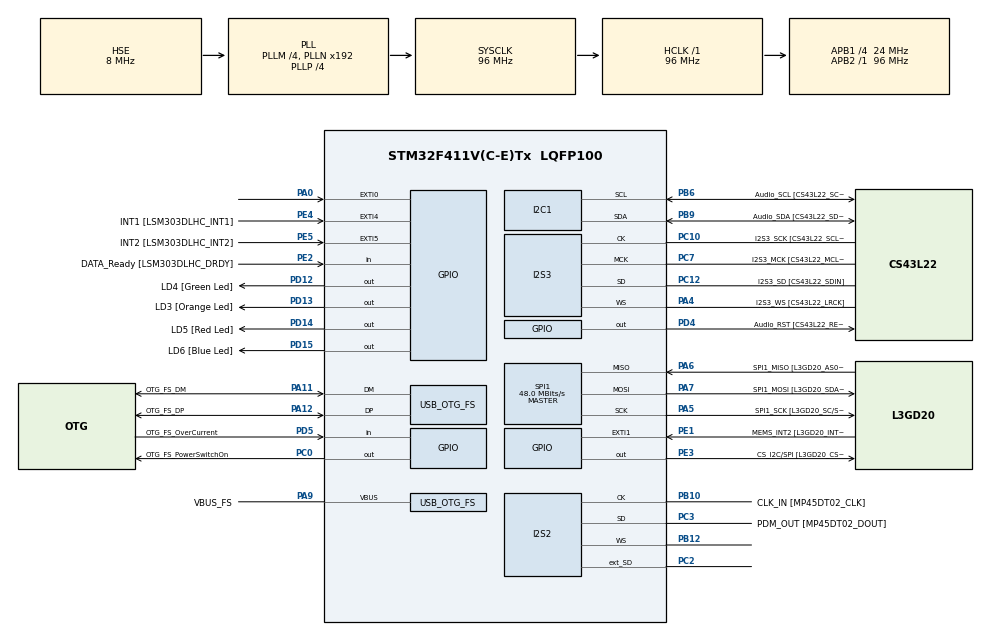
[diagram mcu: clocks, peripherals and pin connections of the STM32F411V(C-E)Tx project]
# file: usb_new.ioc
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I2S2.AudioFreq=I2S_AUDIOFREQ_96K
I2S2.ErrorAudioFreq=0.15 %
I2S2.FullDuplexMode=I2S_FULLDUPLEXMODE_ENABLE
I2S2.Instance=SPI$Index
I2S2.RealAudioFreq=96.153 KHz
I2S2.VirtualMode=I2S_MODE_MASTER
I2S3.AudioFreq=I2S_AUDIOFREQ_96K
I2S3.ErrorAudioFreq=-6.99 %
I2S3.FullDuplexMode=I2S_FULLDUPLEXMODE_DISABLE
I2S3.Instance=SPI$Index
I2S3.RealAudioFreq=89.285 KHz
I2S3.VirtualMode=I2S_MODE_MASTER
Mcu.Family=STM32F4
Mcu.Name=STM32F411V(C-E)Tx
Mcu.Package=LQFP100
NVIC.OTG_FS_IRQn=true\:0\:0\:false\:false\:true\:true\:true
NVIC.PriorityGroup=NVIC_PRIORITYGROUP_0
NVIC.SPI2_IRQn=true\:0\:0\:false\:false\:true\:true\:true
PA0-WKUP.GPIO_ModeDefaultEXTI=GPIO_MODE_EVT_RISING
PA0-WKUP.Signal=GPXTI0
PA10.GPIO_Label=OTG_FS_ID
PA10.Signal=USB_OTG_FS_ID
PA11.GPIO_Label=OTG_FS_DM
PA11.Mode=Host_Only
PA11.Signal=USB_OTG_FS_DM
PA12.GPIO_Label=OTG_FS_DP
PA12.Mode=Host_Only
PA12.Signal=USB_OTG_FS_DP
PA13.GPIO_Label=SWDIO
PA13.Mode=Serial_Wire
PA13.Signal=SYS_JTMS-SWDIO
PA14.GPIO_Label=SWCLK
PA14.Mode=Serial_Wire
PA14.Signal=SYS_JTCK-SWCLK
PA4.GPIO_Label=I2S3_WS [CS43L22_LRCK]
PA4.GPIO_Mode=GPIO_MODE_AF_PP
PA4.GPIO_PuPd=GPIO_NOPULL
PA4.GPIO_Speed=GPIO_SPEED_FREQ_LOW
PA4.Mode=Half_Duplex_Master
PA4.Signal=I2S3_WS
PA5.GPIO_Label=SPI1_SCK [L3GD20_SC/SPC]
PA5.Mode=Full_Duplex_Master
PA5.Signal=SPI1_SCK
PA6.GPIO_Label=SPI1_MISO [L3GD20_AS0/SDO]
PA6.Mode=Full_Duplex_Master
PA6.Signal=SPI1_MISO
PA7.GPIO_Label=SPI1_MOSI [L3GD20_SDA/SDI/SDO]
PA7.Mode=Full_Duplex_Master
PA7.Signal=SPI1_MOSI
PA9.GPIO_Label=VBUS_FS
PA9.Mode=Activate_VBUS
PA9.Signal=USB_OTG_FS_VBUS
PB10.GPIO_Label=CLK_IN [MP45DT02_CLK]
PB10.Mode=Full_Duplex_Master
PB10.Signal=I2S2_CK
PB12.Mode=Full_Duplex_Master
PB12.Signal=I2S2_WS
PB3.GPIO_Label=SWO
PB3.Signal=SYS_JTDO-SWO
PB6.GPIO_Label=Audio_SCL [CS43L22_SCL]
PB6.GPIO_Mode=GPIO_MODE_AF_OD
PB6.GPIO_PuPd=GPIO_NOPULL
PB6.GPIO_Speed=GPIO_SPEED_FREQ_LOW
PB6.Mode=I2C
PB6.Signal=I2C1_SCL
PB9.GPIO_Label=Audio_SDA [CS43L22_SDA]
PB9.GPIO_Mode=GPIO_MODE_AF_OD
PB9.GPIO_PuPd=GPIO_NOPULL
PB9.GPIO_Speed=GPIO_SPEED_FREQ_LOW
PB9.Mode=I2C
PB9.Signal=I2C1_SDA
PC0.GPIO_Label=OTG_FS_PowerSwitchOn
PC0.PinState=GPIO_PIN_SET
PC0.Signal=GPIO_Output
PC10.GPIO_Label=I2S3_SCK [CS43L22_SCLK]
PC10.GPIO_Mode=GPIO_MODE_AF_PP
PC10.GPIO_PuPd=GPIO_NOPULL
PC10.GPIO_Speed=GPIO_SPEED_FREQ_LOW
PC10.Mode=Half_Duplex_Master
PC10.Signal=I2S3_CK
PC12.GPIO_Label=I2S3_SD [CS43L22_SDIN]
PC12.GPIO_Mode=GPIO_MODE_AF_PP
PC12.GPIO_PuPd=GPIO_NOPULL
PC12.GPIO_Speed=GPIO_SPEED_FREQ_LOW
PC12.Mode=Half_Duplex_Master
PC12.Signal=I2S3_SD
PC14-OSC32_IN.GPIO_Label=PC14-OSC32_IN
PC14-OSC32_IN.Mode=LSE-External-Oscillator
PC14-OSC32_IN.Signal=RCC_OSC32_IN
PC15-OSC32_OUT.GPIO_Label=PC15-OSC32_OUT
PC15-OSC32_OUT.Mode=LSE-External-Oscillator
PC15-OSC32_OUT.Signal=RCC_OSC32_OUT
PC2.Mode=Full_Duplex_Master
PC2.Signal=I2S2_ext_SD
PC3.GPIO_Label=PDM_OUT [MP45DT02_DOUT]
PC3.Mode=Full_Duplex_Master
PC3.Signal=I2S2_SD
PC7.GPIO_Label=I2S3_MCK [CS43L22_MCLK]
PC7.GPIO_Mode=GPIO_MODE_AF_PP
PC7.GPIO_PuPd=GPIO_NOPULL
PC7.GPIO_Speed=GPIO_SPEED_FREQ_LOW
PC7.Mode=Master_Clock_Activated
PC7.Signal=I2S3_MCK
PD12.GPIO_Label=LD4 [Green Led]
PD12.GPIO_PuPd=GPIO_NOPULL
PD12.GPIO_Speed=GPIO_SPEED_FREQ_LOW
PD12.Signal=GPIO_Output
PD13.GPIO_Label=LD3 [Orange Led]
PD13.GPIO_PuPd=GPIO_NOPULL
PD13.GPIO_Speed=GPIO_SPEED_FREQ_LOW
PD13.Signal=GPIO_Output
PD14.GPIO_Label=LD5 [Red Led]
PD14.GPIO_PuPd=GPIO_NOPULL
PD14.GPIO_Speed=GPIO_SPEED_FREQ_LOW
PD14.Signal=GPIO_Output
PD15.GPIO_Label=LD6 [Blue Led]
PD15.GPIO_PuPd=GPIO_NOPULL
PD15.GPIO_Speed=GPIO_SPEED_FREQ_LOW
PD15.Signal=GPIO_Output
PD4.GPIO_Label=Audio_RST [CS43L22_RESET]
PD4.Signal=GPIO_Output
PD5.GPIO_Label=OTG_FS_OverCurrent
PD5.Signal=GPIO_Input
PE1.GPIO_Label=MEMS_INT2 [L3GD20_INT2]
PE1.GPIO_ModeDefaultEXTI=GPIO_MODE_EVT_RISING
PE1.Signal=GPXTI1
PE2.GPIO_Label=DATA_Ready [LSM303DLHC_DRDY]
PE2.Signal=GPIO_Input
PE3.GPIO_Label=CS_I2C/SPI [L3GD20_CS_I2C/SPI]
PE3.Signal=GPIO_Output
PE4.GPIO_Label=INT1 [LSM303DLHC_INT1]
PE4.GPIO_ModeDefaultEXTI=GPIO_MODE_EVT_RISING
PE4.Signal=GPXTI4
PE5.GPIO_Label=INT2 [LSM303DLHC_INT2]
PE5.GPIO_ModeDefaultEXTI=GPIO_MODE_EVT_RISING
PE5.Signal=GPXTI5
PH0\ -\ OSC_IN.GPIO_Label=PH0-OSC_IN
PH0\ -\ OSC_IN.Mode=HSE-External-Oscillator
PH0\ -\ OSC_IN.Signal=RCC_OSC_IN
PH1\ -\ OSC_OUT.GPIO_Label=PH1-OSC_OUT
PH1\ -\ OSC_OUT.Mode=HSE-External-Oscillator
PH1\ -\ OSC_OUT.Signal=RCC_OSC_OUT
ProjectManager.HeapSize=0x400
ProjectManager.StackSize=0x800
ProjectManager.TargetToolchain=STM32CubeIDE
RCC.48MHZClocksFreq_Value=48000000
RCC.AHBFreq_Value=96000000
RCC.APB1CLKDivider=RCC_HCLK_DIV4
RCC.APB1Freq_Value=24000000
RCC.APB1TimFreq_Value=48000000
RCC.APB2Freq_Value=96000000
RCC.APB2TimFreq_Value=96000000
RCC.CortexFreq_Value=96000000
RCC.HCLKFreq_Value=96000000
RCC.HSE_VALUE=8000000
RCC.HSI_VALUE=16000000
RCC.PLLI2SM=5
RCC.PLLI2SN=200
RCC.PLLM=4
RCC.PLLP=RCC_PLLP_DIV4
RCC.PLLQ=8
RCC.SYSCLKFreq_VALUE=96000000
RCC.SYSCLKSource=RCC_SYSCLKSOURCE_PLLCLK
RCC.VCOOutputFreq_Value=384000000
SPI1.BaudRatePrescaler=SPI_BAUDRATEPRESCALER_2
SPI1.CalculateBaudRate=48.0 MBits/s
SPI1.Direction=SPI_DIRECTION_2LINES
SPI1.Mode=SPI_MODE_MASTER
SPI1.VirtualType=VM_MASTER
USB_HOST.BSP.number=1
USB_HOST.USBH_HandleTypeDef=hUsbHostFS
USB_HOST.VirtualModeFS=Msc
USB_HOST0.BSP.STBoard=false
USB_HOST0.BSP.api=Unknown
USB_HOST0.BSP.i2caddr=0
USB_HOST0.BSP.i2creg=0
USB_HOST0.BSP.instance=PC0
USB_HOST0.BSP.ip=GPIO
USB_HOST0.BSP.mode=Output
USB_HOST0.BSP.name=Drive_VBUS_FS
USB_HOST0.BSP.solution=PC0
USB_OTG_FS.VirtualMode=Host_Only
USB_OTG_FS.phy_itface=HCD_PHY_EMBEDDED
VP_FATFS_VS_USB.Mode=USB
VP_USB_HOST_VS_USB_HOST_MSC_FS.Mode=MSC_FS
board=STM32F411E-DISCO

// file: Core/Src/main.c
/* USER CODE BEGIN Header */
/**
  ******************************************************************************
  * @file           : main.c
  * @brief          : Main program body
  ******************************************************************************
  * @attention
  *
  * <h2><center>&copy; Copyright (c) 2021 STMicroelectronics.
  * All rights reserved.</center></h2>
  *
  * This software component is licensed by ST under Ultimate Liberty license
  * SLA0044, the "License"; You may not use this file except in compliance with
  * the License. You may obtain a copy of the License at:
  *                             www.st.com/SLA0044
  *
  ******************************************************************************
  */
/* USER CODE END Header */
#include "main.h"
#include "fatfs.h"
#include "i2c.h"
#include "i2s.h"
#include "spi.h"
#include "usb_host.h"
#include "gpio.h"
#include "stm32f411e_discovery_audio.h"

void SystemClock_Config(void);
void MX_USB_HOST_Process(void);

int main(void)
{

  /* MCU Configuration--------------------------------------------------------*/

  /* Reset of all peripherals, Initializes the Flash interface and the Systick. */
  HAL_Init();

  /* Configure the system clock */
  SystemClock_Config();

  /* Initialize all configured peripherals */
  MX_GPIO_Init();
  MX_I2C1_Init();
  MX_I2S2_Init();
  MX_I2S3_Init();
  MX_SPI1_Init();
  MX_USB_HOST_Init();
  MX_FATFS_Init();
  /* USER CODE BEGIN 2 */
  uint16_t wtext[22050]; /* File write buffer */
//  uint8_t rtext[44] = "This is STM32 working with FatFs";
//  FILE * rFile;
  int flag_ex;

  flag_ex = 0;
  /* USER CODE END 2 */

  /* Infinite loop */
  /* USER CODE BEGIN WHILE */
  while (1)
  {
	if(flag_ex == 0){
		MX_USB_HOST_Process();
		if(open_to_write() == 1){

			Write_the_header();

			for(int i = 0 ; i <3 ; ++i){
				BSP_AUDIO_IN_Init(22050,16,1);

				BSP_AUDIO_IN_Record(wtext,sizeof(wtext));

				BSP_AUDIO_IN_Stop();

				Write_with_open(wtext,sizeof(wtext)*2);
			}
			Close_usb();
			HAL_GPIO_WritePin(LD4_GPIO_Port,LD4_Pin,GPIO_PIN_SET);
			flag_ex = 1;
		}
	}
//   Write_usb(rtext, sizeof(rtext));
//    BSP_AUDIO_IN_Record(wtext, sizeof(wtext));
//    Write_usb(wtext, sizeof(wtext));
    //rFile = open_r("Name.TXT");
    //HAL_Delay(10);
	/* USER CODE END WHILE */
  }
}

void SystemClock_Config(void)
{
  RCC_OscInitTypeDef RCC_OscInitStruct = {0};
  RCC_ClkInitTypeDef RCC_ClkInitStruct = {0};
  RCC_PeriphCLKInitTypeDef PeriphClkInitStruct = {0};

  /** Configure the main internal regulator output voltage
  */
  __HAL_RCC_PWR_CLK_ENABLE();
  __HAL_PWR_VOLTAGESCALING_CONFIG(PWR_REGULATOR_VOLTAGE_SCALE1);
  /** Initializes the RCC Oscillators according to the specified parameters
  * in the RCC_OscInitTypeDef structure.
  */
  RCC_OscInitStruct.OscillatorType = RCC_OSCILLATORTYPE_HSE;
  RCC_OscInitStruct.HSEState = RCC_HSE_ON;
  RCC_OscInitStruct.PLL.PLLState = RCC_PLL_ON;
  RCC_OscInitStruct.PLL.PLLSource = RCC_PLLSOURCE_HSE;
  RCC_OscInitStruct.PLL.PLLM = 4;
  RCC_OscInitStruct.PLL.PLLN = 192;
  RCC_OscInitStruct.PLL.PLLP = RCC_PLLP_DIV4;
  RCC_OscInitStruct.PLL.PLLQ = 8;
  if (HAL_RCC_OscConfig(&RCC_OscInitStruct) != HAL_OK)
  {
    Error_Handler();
  }
  /** Initializes the CPU, AHB and APB buses clocks
  */
  RCC_ClkInitStruct.ClockType = RCC_CLOCKTYPE_HCLK|RCC_CLOCKTYPE_SYSCLK
                              |RCC_CLOCKTYPE_PCLK1|RCC_CLOCKTYPE_PCLK2;
  RCC_ClkInitStruct.SYSCLKSource = RCC_SYSCLKSOURCE_PLLCLK;
  RCC_ClkInitStruct.AHBCLKDivider = RCC_SYSCLK_DIV1;
  RCC_ClkInitStruct.APB1CLKDivider = RCC_HCLK_DIV4;
  RCC_ClkInitStruct.APB2CLKDivider = RCC_HCLK_DIV1;

  if (HAL_RCC_ClockConfig(&RCC_ClkInitStruct, FLASH_LATENCY_3) != HAL_OK)
  {
    Error_Handler();
  }
  PeriphClkInitStruct.PeriphClockSelection = RCC_PERIPHCLK_I2S;
  PeriphClkInitStruct.PLLI2S.PLLI2SN = 200;
  PeriphClkInitStruct.PLLI2S.PLLI2SM = 5;
  PeriphClkInitStruct.PLLI2S.PLLI2SR = 2;
  if (HAL_RCCEx_PeriphCLKConfig(&PeriphClkInitStruct) != HAL_OK)
  {
    Error_Handler();
  }
}

void Error_Handler(void)
{
}

/************************ (C) COPYRIGHT STMicroelectronics *****END OF FILE****/
